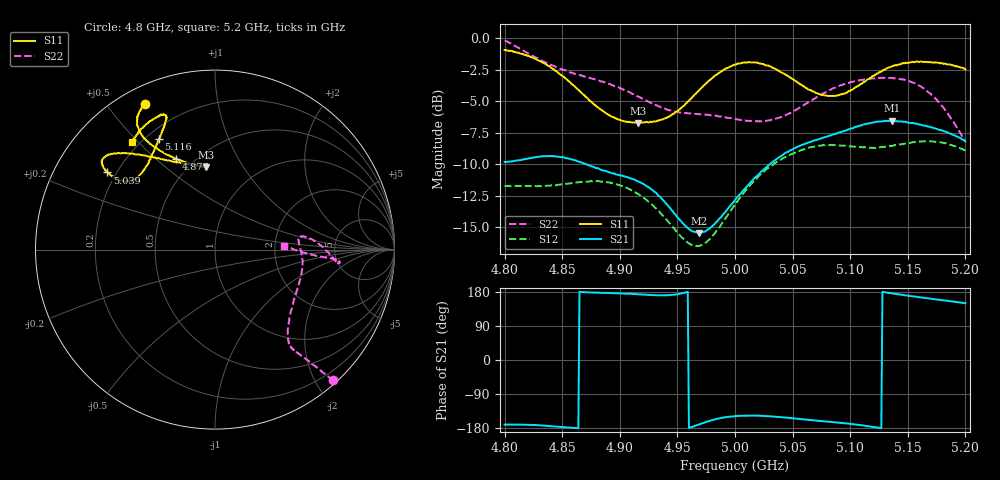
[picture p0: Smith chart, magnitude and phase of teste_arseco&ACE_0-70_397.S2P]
! Network Analyzer HP8722D
! Hewlett-Packard
! Data name: Linha & Wilkinson
! Saver's name: Rodrigo Anjos
! Comments: Teste da utilização de aquisição
! continua pelo VNA HP8722D
! Time and date: 8/5/2025 16:04
!  Frequency  S11  S21  S12  S22
# HZ  S  MA R 50
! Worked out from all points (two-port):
!   401 points, 4.8 GHz to 5.2 GHz, reference 50 ohm
!   highest |S21| = -6.54 dB at 5.136 GHz (marker M1); lowest = -15.5 dB at 4.969 GHz (marker M2)
!   |S21| within 3 dB of the highest: 4.821 GHz to 4.855 GHz (33.68 MHz wide, 0.696 % of centre); 5.037 GHz to end of sweep
!   lowest |S11| = -6.7 dB at 4.916 GHz (marker M3), VSWR 2.71, Z = 30 + j34.9 ohm
!   |S11| at or under -10 dB: nowhere
!   |S22| runs from -8.2 to -0.2 dB; largest |S21 - S12| = 0.83
!   S11 on the Smith chart (normalised r, x): 4.8 GHz: 0.07, +0.63; 4.877 GHz: 0.40, +0.58; 5.039 GHz: 0.17, +0.31; 5.116 GHz: 0.25, +0.59; 5.2 GHz: 0.17, +0.48
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4.8e9  0.8992 115.8  0.3227 -170.6  0.2588 -86.2  0.9815 -47.9
4.818e9  0.8583 120.1  0.3313 -170.7  0.2593 -82.2  0.8842 -48.9
4.834e9  0.7978 122.3  0.34 -173.1  0.259 -77.1  0.8086 -50.0
4.867e9  0.6062 117.7  0.321 179.3  0.2684 -67.9  0.7118 -51.9
4.877e9  0.5501 113.1  0.3082 178.0  0.2707 -66.8  0.6905 -52.1
4.899e9  0.4756 101.3  0.2863 176.0  0.2614 -67.3  0.6387 -50.4
4.916e9  0.4615 96.2  0.2699 173.4  0.2404 -69.1  0.5869 -45.8
4.934e9  0.4712 99.8  0.236 170.6  0.2055 -70.0  0.5362 -37.0
4.956e9  0.5399 115.2  0.1812 177.5  0.1583 -60.6  0.5045 -22.5
4.969e9  0.6236 124.2  0.1682 -169.9  0.1494 -46.4  0.5004 -14.7
4.98e9  0.6938 130.1  0.1786 -158.7  0.1628 -34.0  0.4937 -9.2
5e9  0.7873 137.4  0.2276 -148.4  0.2187 -21.6  0.4781 -0.4
5.018e9  0.8018 141.8  0.2809 -146.9  0.2751 -18.8  0.4686 5.7
5.039e9  0.7372 144.3  0.338 -150.6  0.3277 -19.0  0.4846 8.7
5.067e9  0.6171 142.0  0.3906 -158.8  0.3704 -21.4  0.5683 4.0
5.088e9  0.5927 132.9  0.419 -164.8  0.3757 -24.6  0.6404 -2.6
5.116e9  0.6903 116.9  0.4588 -175.0  0.368 -27.6  0.6902 -6.1
5.134e9  0.7668 111.1  0.4691 177.0  0.3728 -29.5  0.696 -5.5
5.136e9  0.7737 110.5  0.4709 175.8  0.373 -29.9  0.6964 -5.4
5.163e9  0.8065 112.8  0.4506 164.4  0.3892 -36.6  0.6355 -4.0
5.18e9  0.7951 119.1  0.4296 157.9  0.3853 -42.0  0.5369 -3.0
5.2e9  0.7537 127.6  0.3898 149.8  0.3583 -47.3  0.3876 3.3
